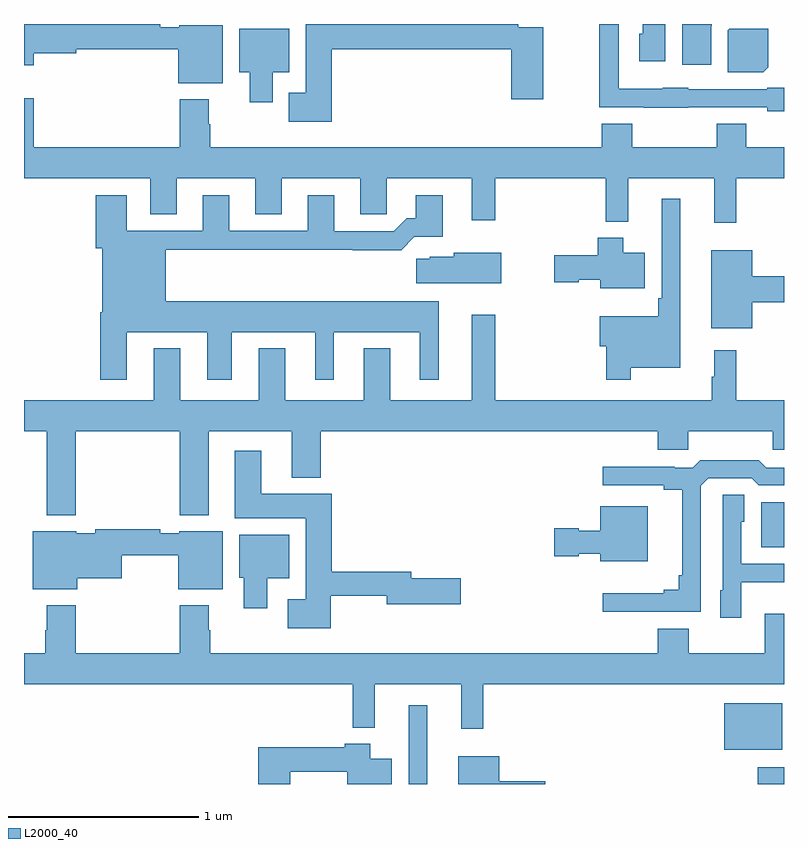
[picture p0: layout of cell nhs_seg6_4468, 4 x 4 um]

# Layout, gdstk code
import gdstk
lib = gdstk.Library(unit=1e-6, precision=1e-09)
def R(c, l, rs):  # rectangles x0, y0, x1, y1
    for r in rs: c.add(gdstk.rectangle(r[:2], r[2:], *l))
def P(c, l, *ps):  # polygons
    for p in ps: c.add(gdstk.Polygon(p, *l))
L2000_40 = (2000, 40)

nhs_seg6_4468 = lib.new_cell('nhs_seg6_4468')
R(nhs_seg6_4468, L2000_40, [(377.025,925.5,377.122,925.915), (378.861,925.5,379,925.588), (378.686,925.679,378.991,925.924), (378.881,926.747,379,926.983)])
P(nhs_seg6_4468, L2000_40, [(378.616,929.49),(378.62,929.49),(378.62,929.5),(378.464,929.5),(378.464,929.286),(378.616,929.286)],
  [(378.376,929.5),(378.257,929.5),(378.257,929.448),(378.239,929.448),(378.239,929.304),(378.376,929.304)],
  [(379,929.164),(378.912,929.164),(378.912,929.157),(378.495,929.157),(378.495,929.164),(378.363,929.164),(378.363,929.158),(378.129,929.158),(378.129,929.5),(378.028,929.5),(378.028,929.061),(378.263,929.061),(378.263,929.06),(378.495,929.06),(378.495,929.061),(378.912,929.061),(378.912,929.042),(379,929.042)],
  [(376.045,929.494),(375.816,929.494),(375.816,929.484),(375.716,929.484),(375.716,929.5),(375,929.5),(375,929.282),(375.052,929.282),(375.052,929.345),(375.274,929.345),(375.274,929.368),(375.812,929.368),(375.812,929.189),(376.045,929.189)],
  [(376.619,929.368),(377.564,929.368),(377.564,929.103),(377.734,929.103),(377.734,929.484),(377.6,929.484),(377.6,929.5),(376.484,929.5),(376.484,929.137),(376.394,929.137),(376.394,928.985),(376.619,928.985)],
  [(376.309,929.246),(376.396,929.246),(376.396,929.476),(376.133,929.476),(376.133,929.246),(376.187,929.246),(376.187,929.088),(376.309,929.088)],
  [(378.916,929.272),(378.916,929.476),(378.712,929.476),(378.704,929.468),(378.704,929.246),(378.89,929.246)],
  [(378.749,928.688),(379,928.688),(379,928.852),(378.801,928.852),(378.801,928.976),(378.646,928.976),(378.646,928.852),(378.201,928.852),(378.201,928.976),(378.041,928.976),(378.041,928.852),(375.981,928.852),(375.981,928.973),(375.973,928.973),(375.973,929.104),(375.821,929.104),(375.821,928.852),(375.05,928.852),(375.05,929.11),(375,929.11),(375,928.688),(375.665,928.688),(375.665,928.498),(375.805,928.498),(375.805,928.688),(376.217,928.688),(376.217,928.498),(376.357,928.498),(376.357,928.688),(376.769,928.688),(376.769,928.498),(376.908,928.498),(376.908,928.688),(377.357,928.688),(377.357,928.467),(377.479,928.467),(377.479,928.688),(378.061,928.688),(378.061,928.46),(378.179,928.46),(378.179,928.688),(378.632,928.688),(378.632,928.455),(378.749,928.455)],
  [(375.541,927.878),(375.965,927.878),(375.965,927.627),(376.093,927.627),(376.093,927.878),(376.532,927.878),(376.532,927.627),(376.63,927.627),(376.63,927.878),(377.084,927.878),(377.084,927.627),(377.182,927.627),(377.182,928.042),(375.745,928.042),(375.745,928.312),(376.729,928.312),(376.729,928.31),(376.985,928.31),(377.055,928.38),(377.203,928.38),(377.203,928.6),(377.063,928.6),(377.063,928.477),(377.014,928.477),(376.947,928.41),(376.633,928.41),(376.633,928.6),(376.493,928.6),(376.493,928.413),(376.081,928.413),(376.081,928.6),(375.941,928.6),(375.941,928.413),(375.541,928.413),(375.541,928.6),(375.377,928.6),(375.377,928.32),(375.413,928.32),(375.413,927.982),(375.401,927.982),(375.401,927.627),(375.541,927.627)],
  [(378.193,927.692),(378.454,927.692),(378.454,928.579),(378.357,928.579),(378.357,928.057),(378.337,928.057),(378.337,927.961),(378.03,927.961),(378.03,927.803),(378.064,927.803),(378.064,927.627),(378.193,927.627)],
  [(378.268,928.297),(378.154,928.297),(378.154,928.375),(378.02,928.375),(378.02,928.284),(377.79,928.284),(377.79,928.142),(377.919,928.142),(377.919,928.154),(378.032,928.154),(378.032,928.109),(378.268,928.109)],
  [(378.832,928.036),(379,928.036),(379,928.172),(378.832,928.172),(378.832,928.309),(378.617,928.309),(378.617,927.899),(378.832,927.899)],
  [(377.512,928.297),(377.262,928.297),(377.262,928.276),(377.136,928.276),(377.136,928.265),(377.064,928.265),(377.064,928.136),(377.512,928.136)],
  [(375.272,927.356),(375.821,927.356),(375.821,926.915),(375.973,926.915),(375.973,927.356),(376.409,927.356),(376.409,927.113),(376.562,927.113),(376.562,927.356),(378.335,927.356),(378.335,927.258),(378.495,927.258),(378.495,927.356),(378.94,927.356),(378.94,927.258),(379,927.258),(379,927.52),(378.749,927.52),(378.749,927.784),(378.632,927.784),(378.632,927.644),(378.621,927.644),(378.621,927.52),(377.479,927.52),(377.479,927.97),(377.357,927.97),(377.357,927.52),(376.927,927.52),(376.927,927.793),(376.787,927.793),(376.787,927.52),(376.375,927.52),(376.375,927.793),(376.235,927.793),(376.235,927.52),(375.823,927.52),(375.823,927.793),(375.683,927.793),(375.683,927.52),(375,927.52),(375,927.356),(375.119,927.356),(375.119,926.915),(375.272,926.915)],
  [(376.614,926.49),(376.91,926.49),(376.91,926.447),(377.299,926.447),(377.299,926.582),(377.038,926.582),(377.038,926.618),(376.619,926.618),(376.619,927.028),(376.249,927.028),(376.249,927.253),(376.109,927.253),(376.109,926.9),(376.484,926.9),(376.484,926.473),(376.389,926.473),(376.389,926.321),(376.614,926.321)],
  [(378.561,927.069),(378.6,927.108),(378.831,927.108),(378.867,927.072),(379,927.072),(379,927.165),(378.906,927.165),(378.867,927.205),(378.559,927.205),(378.519,927.165),(378.425,927.165),(378.425,927.17),(378.045,927.17),(378.045,927.072),(378.368,927.072),(378.368,927.05),(378.464,927.05),(378.464,926.599),(378.445,926.599),(378.445,926.522),(378.368,926.522),(378.368,926.503),(378.045,926.503),(378.045,926.406),(378.561,926.406)],
  [(378.774,926.561),(379,926.561),(379,926.658),(378.774,926.658),(378.774,926.88),(378.79,926.88),(378.79,927.023),(378.678,927.023),(378.678,926.52),(378.665,926.52),(378.665,926.376),(378.774,926.376)],
  [(378.283,926.962),(378.032,926.962),(378.032,926.833),(377.919,926.833),(377.919,926.846),(377.79,926.846),(377.79,926.699),(377.919,926.699),(377.919,926.711),(378.032,926.711),(378.032,926.672),(378.283,926.672)],
  [(375.28,926.582),(375.514,926.582),(375.514,926.704),(375.812,926.704),(375.812,926.525),(376.045,926.525),(376.045,926.83),(375.816,926.83),(375.816,926.82),(375.716,926.82),(375.716,926.84),(375.376,926.84),(375.376,926.821),(375.276,926.821),(375.276,926.83),(375.047,926.83),(375.047,926.525),(375.28,926.525)],
  [(376.279,926.582),(376.396,926.582),(376.396,926.812),(376.133,926.812),(376.133,926.586),(376.157,926.586),(376.157,926.424),(376.279,926.424)],
  [(377.417,926.024),(379,926.024),(379,926.395),(378.899,926.395),(378.899,926.188),(378.499,926.188),(378.499,926.317),(378.335,926.317),(378.335,926.188),(375.981,926.188),(375.981,926.309),(375.973,926.309),(375.973,926.44),(375.821,926.44),(375.821,926.188),(375.272,926.188),(375.272,926.44),(375.119,926.44),(375.119,926.309),(375.112,926.309),(375.112,926.188),(375,926.188),(375,926.024),(376.729,926.024),(376.729,925.796),(376.847,925.796),(376.847,926.024),(377.3,926.024),(377.3,925.791),(377.417,925.791)],
  [(376.402,925.564),(376.7,925.564),(376.7,925.5),(376.936,925.5),(376.936,925.633),(376.822,925.633),(376.822,925.711),(376.688,925.711),(376.688,925.693),(376.232,925.693),(376.232,925.5),(376.402,925.5)],
  [(377.743,925.514),(377.5,925.514),(377.5,925.645),(377.285,925.645),(377.285,925.5),(377.743,925.5)])

lib.write_gds('nhs_seg6_4468.gds')
